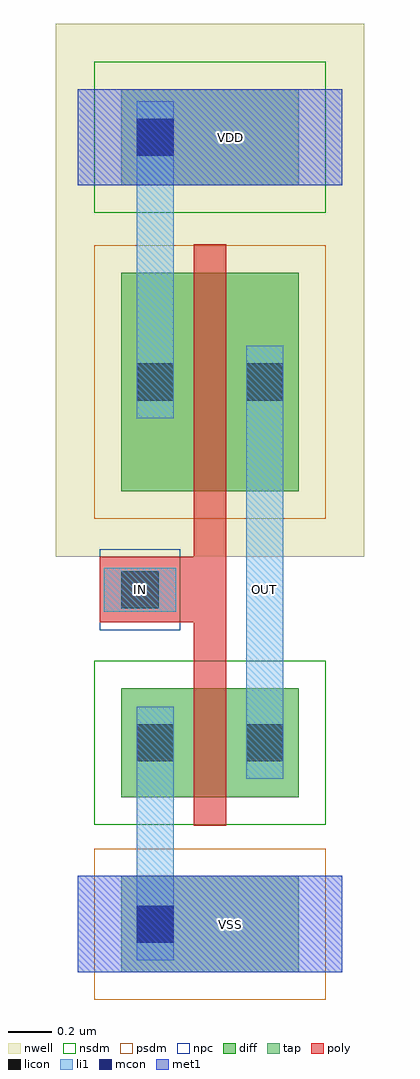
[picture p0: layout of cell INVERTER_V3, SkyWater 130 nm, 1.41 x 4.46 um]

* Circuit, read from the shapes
.subckt INVERTER_V3 IN OUT VDD VSS
XM1 OUT IN VSS VSS sky130_fd_pr__nfet_01v8 w=0.5 l=0.15
XM2 OUT IN VDD VDD sky130_fd_pr__pfet_01v8 w=1 l=0.15
.ends

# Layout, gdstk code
import gdstk
lib = gdstk.Library(unit=1e-6, precision=1e-09)
def R(c, l, rs):  # rectangles x0, y0, x1, y1
    for r in rs: c.add(gdstk.rectangle(r[:2], r[2:], *l))
nwell = (64, 20)
diff = (65, 20)
tap = (65, 44)
poly = (66, 20)
licon = (66, 44)
li1 = (67, 20)
mcon = (67, 44)
met1 = (68, 20)
nsdm = (93, 44)
psdm = (94, 20)
npc = (95, 20)

inverter_v3 = lib.new_cell('INVERTER_V3')
R(inverter_v3, nwell, [(-0.3,1.1,1.11,3.54)])
R(inverter_v3, diff, [(0,0,0.81,0.5), (0,1.4,0.81,2.4)])
R(inverter_v3, tap, [(0,-0.8,0.81,-0.36), (0,2.8,0.81,3.24)])
R(inverter_v3, poly, [(0.33,-0.13,0.48,2.53), (-0.1,0.8,0.48,1.1)])
R(inverter_v3, licon, [(0.07,-0.665,0.24,-0.495), (0.07,0.165,0.24,0.335), (0.57,0.165,0.74,0.335), (0,0.865,0.17,1.035), (0.07,1.815,0.24,1.985), (0.57,1.815,0.74,1.985), (0.07,2.935,0.24,3.105)])
R(inverter_v3, li1, [(0.07,-0.745,0.24,0.415), (0.57,0.085,0.74,2.065), (-0.08,0.85,0.25,1.05), (0.07,1.735,0.24,3.185)])
R(inverter_v3, mcon, [(0.07,-0.665,0.24,-0.495), (0.07,2.935,0.24,3.105)])
R(inverter_v3, met1, [(-0.2,-0.8,1.01,-0.36), (-0.2,2.8,1.01,3.24)])
R(inverter_v3, nsdm, [(-0.125,-0.125,0.935,0.625), (-0.125,2.675,0.935,3.365)])
R(inverter_v3, psdm, [(-0.125,-0.925,0.935,-0.235), (-0.125,1.275,0.935,2.525)])
R(inverter_v3, npc, [(-0.1,0.765,0.27,1.135)])
inverter_v3.add(gdstk.Label('VSS', (0.5,-0.58), layer=68, texttype=5))
inverter_v3.add(gdstk.Label('VDD', (0.5,3.02), layer=68, texttype=5))
inverter_v3.add(gdstk.Label('OUT', (0.655,0.95), layer=67, texttype=5))
inverter_v3.add(gdstk.Label('IN', (0.085,0.95), layer=67, texttype=5))

lib.write_gds('INVERTER_V3.gds')
